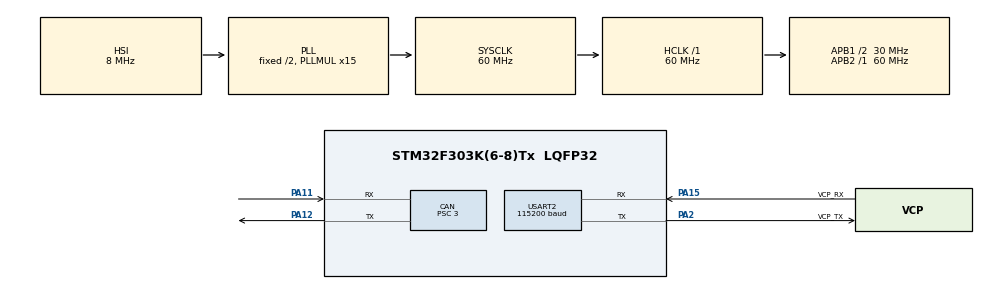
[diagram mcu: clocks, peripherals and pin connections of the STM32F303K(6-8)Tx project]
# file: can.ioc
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CAN.BS1=CAN_BS1_7TQ
CAN.BS2=CAN_BS2_2TQ
CAN.CalculateBaudRate=1000000
CAN.CalculateTimeBit=1000
CAN.CalculateTimeQuantum=100.0
CAN.Prescaler=3
Dma.Request0=USART2_TX
Dma.USART2_TX.0.Direction=DMA_MEMORY_TO_PERIPH
Dma.USART2_TX.0.Instance=DMA1_Channel7
Dma.USART2_TX.0.MemDataAlignment=DMA_MDATAALIGN_BYTE
Dma.USART2_TX.0.MemInc=DMA_MINC_ENABLE
Dma.USART2_TX.0.Mode=DMA_NORMAL
Dma.USART2_TX.0.PeriphDataAlignment=DMA_PDATAALIGN_BYTE
Dma.USART2_TX.0.PeriphInc=DMA_PINC_DISABLE
Dma.USART2_TX.0.Priority=DMA_PRIORITY_LOW
Mcu.Family=STM32F3
Mcu.Name=STM32F303K(6-8)Tx
Mcu.Package=LQFP32
NVIC.CAN_RX0_IRQn=true\:0\:0\:false\:false\:true\:true\:true\:true
NVIC.CAN_RX1_IRQn=true\:0\:0\:false\:false\:true\:true\:true\:true
NVIC.CAN_TX_IRQn=true\:0\:0\:false\:false\:true\:true\:true\:true
NVIC.DMA1_Channel7_IRQn=true\:0\:0\:false\:false\:true\:false\:true\:true
NVIC.PriorityGroup=NVIC_PRIORITYGROUP_4
NVIC.USART2_IRQn=true\:0\:0\:false\:false\:true\:true\:true\:true
PA11.Mode=CAN_Activate
PA11.Signal=CAN_RX
PA12.Mode=CAN_Activate
PA12.Signal=CAN_TX
PA13.GPIO_Label=SWDIO
PA13.Mode=Serial_Wire
PA13.Signal=SYS_JTMS-SWDIO
PA14.GPIO_Label=SWCLK
PA14.Mode=Serial_Wire
PA14.Signal=SYS_JTCK-SWCLK
PA15.GPIO_Label=VCP_RX
PA15.Mode=Asynchronous
PA15.Signal=USART2_RX
PA2.GPIO_Label=VCP_TX
PA2.Mode=Asynchronous
PA2.Signal=USART2_TX
PF0\ /\ OSC_IN.GPIO_Label=MCO
PF0\ /\ OSC_IN.Mode=HSE-External-Clock-Source
PF0\ /\ OSC_IN.Signal=RCC_OSC_IN
ProjectManager.HeapSize=0x200
ProjectManager.StackSize=0x400
ProjectManager.TargetToolchain=STM32CubeIDE
RCC.AHBFreq_Value=60000000
RCC.APB1CLKDivider=RCC_HCLK_DIV2
RCC.APB1Freq_Value=30000000
RCC.APB1TimFreq_Value=60000000
RCC.APB2Freq_Value=60000000
RCC.APB2TimFreq_Value=60000000
RCC.CortexFreq_Value=60000000
RCC.HCLKFreq_Value=60000000
RCC.HSE_VALUE=8000000
RCC.HSI_VALUE=8000000
RCC.PLLMUL=RCC_PLL_MUL15
RCC.SYSCLKFreq_VALUE=60000000
RCC.SYSCLKSourceVirtual=RCC_SYSCLKSOURCE_PLLCLK
USART2.BaudRate=115200
USART2.VirtualMode-Asynchronous=VM_ASYNC
board=NUCLEO-F303K8

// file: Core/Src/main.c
/* USER CODE BEGIN Header */
/**
  ******************************************************************************
  * @file           : main.c
  * @brief          : Main program body
  ******************************************************************************
  * @attention
  *
  * Copyright (c) 2023 STMicroelectronics.
  * All rights reserved.
  *
  * This software is licensed under terms that can be found in the LICENSE file
  * in the root directory of this software component.
  * If no LICENSE file comes with this software, it is provided AS-IS.
  *
  ******************************************************************************
  */
/* USER CODE END Header */
#include "main.h"

/* USER CODE BEGIN Includes */
#include<stdio.h>
#include <string.h>
/* USER CODE END Includes */

CAN_HandleTypeDef hcan;

CAN_TxHeaderTypeDef TxHeader;
CAN_RxHeaderTypeDef RxHeader;

UART_HandleTypeDef huart2;
DMA_HandleTypeDef hdma_usart2_tx;

void SystemClock_Config(void);
static void MX_GPIO_Init(void);
static void MX_DMA_Init(void);
static void MX_USART2_UART_Init(void);
static void MX_CAN_Init(void);

/* USER CODE BEGIN 0 */
uint8_t TxData[8];
uint8_t RxData[8];
uint32_t TxMailbox;
uint8_t cnt;
uint8_t uartTXData[50];

void HAL_CAN_RxFifo0MsgPendingCallback(CAN_HandleTypeDef *hcan)
{
	//受信メッセージの取得
	if((HAL_CAN_GetRxMessage(hcan, CAN_RX_FIFO0, &RxHeader, RxData) != HAL_OK))
	{
		Error_Handler();
	}
    // IDを表示
    int len = sprintf((char *)uartTXData, "ID: 0x%lX Data: ", RxHeader.StdId);

    // DLC（Data Length Code）の長さだけデータを取り出し、そのままASCII文字として扱う
    for (int i = 0; i < RxHeader.DLC; i++)
    {
        len += sprintf((char *)uartTXData + len, "%c", RxData[i]);
    }

    // 改行を追加
    sprintf((char *)uartTXData + len, "\r\n");

	HAL_UART_Transmit(&huart2, uartTXData, strlen((char *)uartTXData), HAL_MAX_DELAY);
}

/* USER CODE END 0 */

int main(void)
{

  /* MCU Configuration--------------------------------------------------------*/

  /* Reset of all peripherals, Initializes the Flash interface and the Systick. */
  HAL_Init();

  /* Configure the system clock */
  SystemClock_Config();

  /* Initialize all configured peripherals */
  MX_GPIO_Init();
  MX_DMA_Init();
  MX_USART2_UART_Init();
  MX_CAN_Init();
  /* USER CODE BEGIN 2 */
  HAL_CAN_Start(&hcan);
  if (HAL_CAN_ActivateNotification(&hcan, CAN_IT_RX_FIFO0_MSG_PENDING) != HAL_OK)
   {
	 uint8_t msg[] = "CAN start failed!";
	 HAL_UART_Transmit(&huart2, msg, sizeof(msg), 1000);
     Error_Handler();
   }

  uint8_t msg2[] ="CAN started!\n";
  HAL_UART_Transmit(&huart2, msg2, sizeof(msg2), 1000);
  /* USER CODE END 2 */

  /* Infinite loop */
  while (1)
  {
	  uint8_t msg3[] = "waiting CAN message...\n";
	  HAL_UART_Transmit(&huart2, msg3, sizeof(msg3), 1000);
	  HAL_Delay(1000);
  }
}

void SystemClock_Config(void)
{
  RCC_OscInitTypeDef RCC_OscInitStruct = {0};
  RCC_ClkInitTypeDef RCC_ClkInitStruct = {0};

  /** Initializes the RCC Oscillators according to the specified parameters
  * in the RCC_OscInitTypeDef structure.
  */
  RCC_OscInitStruct.OscillatorType = RCC_OSCILLATORTYPE_HSI;
  RCC_OscInitStruct.HSIState = RCC_HSI_ON;
  RCC_OscInitStruct.HSICalibrationValue = RCC_HSICALIBRATION_DEFAULT;
  RCC_OscInitStruct.PLL.PLLState = RCC_PLL_ON;
  RCC_OscInitStruct.PLL.PLLSource = RCC_PLLSOURCE_HSI;
  RCC_OscInitStruct.PLL.PLLMUL = RCC_PLL_MUL15;
  if (HAL_RCC_OscConfig(&RCC_OscInitStruct) != HAL_OK)
  {
    Error_Handler();
  }

  /** Initializes the CPU, AHB and APB buses clocks
  */
  RCC_ClkInitStruct.ClockType = RCC_CLOCKTYPE_HCLK|RCC_CLOCKTYPE_SYSCLK
                              |RCC_CLOCKTYPE_PCLK1|RCC_CLOCKTYPE_PCLK2;
  RCC_ClkInitStruct.SYSCLKSource = RCC_SYSCLKSOURCE_PLLCLK;
  RCC_ClkInitStruct.AHBCLKDivider = RCC_SYSCLK_DIV1;
  RCC_ClkInitStruct.APB1CLKDivider = RCC_HCLK_DIV2;
  RCC_ClkInitStruct.APB2CLKDivider = RCC_HCLK_DIV1;

  if (HAL_RCC_ClockConfig(&RCC_ClkInitStruct, FLASH_LATENCY_2) != HAL_OK)
  {
    Error_Handler();
  }
}

static void MX_CAN_Init(void)
{

  hcan.Instance = CAN;
  hcan.Init.Prescaler = 3;
  hcan.Init.Mode = CAN_MODE_NORMAL;
  hcan.Init.SyncJumpWidth = CAN_SJW_1TQ;
  hcan.Init.TimeSeg1 = CAN_BS1_7TQ;
  hcan.Init.TimeSeg2 = CAN_BS2_2TQ;
  hcan.Init.TimeTriggeredMode = DISABLE;
  hcan.Init.AutoBusOff = DISABLE;
  hcan.Init.AutoWakeUp = DISABLE;
  hcan.Init.AutoRetransmission = DISABLE;
  hcan.Init.ReceiveFifoLocked = DISABLE;
  hcan.Init.TransmitFifoPriority = DISABLE;
  if (HAL_CAN_Init(&hcan) != HAL_OK)
  {
    Error_Handler();
  }
  /* USER CODE BEGIN CAN_Init 2 */
  // CANフィルタ設定
  CAN_FilterTypeDef filterConfig;
  filterConfig.FilterBank = 0;
  filterConfig.FilterMode = CAN_FILTERMODE_IDMASK;
  filterConfig.FilterScale = CAN_FILTERSCALE_32BIT;
  filterConfig.FilterIdHigh = 0x0000;
  filterConfig.FilterIdLow = 0x0000;
  filterConfig.FilterMaskIdHigh = 0x0000;
  filterConfig.FilterMaskIdLow = 0x0000;
  filterConfig.FilterFIFOAssignment = CAN_RX_FIFO0;
  filterConfig.FilterActivation = ENABLE;
  HAL_CAN_ConfigFilter(&hcan, &filterConfig);
  /* USER CODE END CAN_Init 2 */

}

static void MX_USART2_UART_Init(void)
{

  huart2.Instance = USART2;
  huart2.Init.BaudRate = 115200;
  huart2.Init.WordLength = UART_WORDLENGTH_8B;
  huart2.Init.StopBits = UART_STOPBITS_1;
  huart2.Init.Parity = UART_PARITY_NONE;
  huart2.Init.Mode = UART_MODE_TX_RX;
  huart2.Init.HwFlowCtl = UART_HWCONTROL_NONE;
  huart2.Init.OverSampling = UART_OVERSAMPLING_16;
  huart2.Init.OneBitSampling = UART_ONE_BIT_SAMPLE_DISABLE;
  huart2.AdvancedInit.AdvFeatureInit = UART_ADVFEATURE_NO_INIT;
  if (HAL_UART_Init(&huart2) != HAL_OK)
  {
    Error_Handler();
  }

}

static void MX_DMA_Init(void)
{

  /* DMA controller clock enable */
  __HAL_RCC_DMA1_CLK_ENABLE();

  /* DMA interrupt init */
  /* DMA1_Channel7_IRQn interrupt configuration */
  HAL_NVIC_SetPriority(DMA1_Channel7_IRQn, 0, 0);
  HAL_NVIC_EnableIRQ(DMA1_Channel7_IRQn);

}

static void MX_GPIO_Init(void)
{

  /* GPIO Ports Clock Enable */
  __HAL_RCC_GPIOF_CLK_ENABLE();
  __HAL_RCC_GPIOA_CLK_ENABLE();

}

void Error_Handler(void)
{
  __disable_irq();
  while (1)
  {
  }
}
